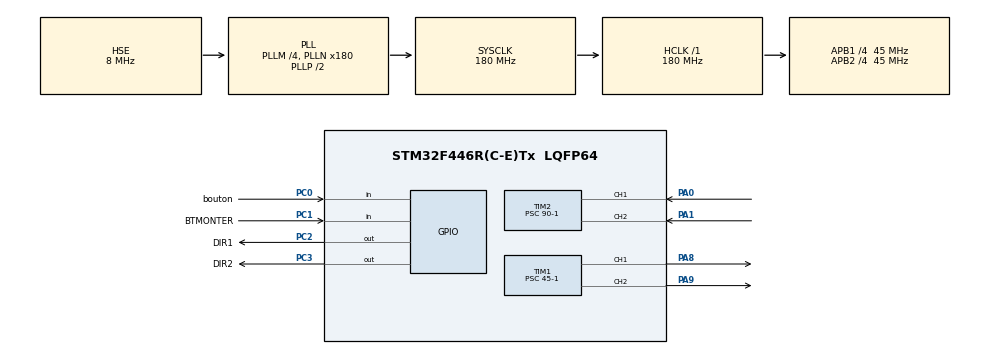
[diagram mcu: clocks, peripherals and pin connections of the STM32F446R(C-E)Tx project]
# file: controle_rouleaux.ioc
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Mcu.Family=STM32F4
Mcu.Name=STM32F446R(C-E)Tx
Mcu.Package=LQFP64
NVIC.PriorityGroup=NVIC_PRIORITYGROUP_4
NVIC.TIM2_IRQn=true\:0\:0\:false\:false\:true\:true\:true\:true
PA0-WKUP.Signal=S_TIM2_CH1_ETR
PA1.Signal=S_TIM2_CH2
PA8.Signal=S_TIM1_CH1
PA9.Signal=S_TIM1_CH2
PC0.GPIO_Label=bouton
PC0.GPIO_PuPd=GPIO_PULLDOWN
PC0.Signal=GPIO_Input
PC1.GPIO_Label=BTMONTER
PC1.GPIO_Mode=GPIO_MODE_INPUT
PC1.GPIO_PuPd=GPIO_PULLDOWN
PC1.Signal=GPIO_Input
PC2.GPIO_Label=DIR1
PC2.GPIO_PuPd=GPIO_PULLDOWN
PC2.PinState=GPIO_PIN_RESET
PC2.Signal=GPIO_Output
PC3.GPIO_Label=DIR2
PC3.GPIO_PuPd=GPIO_PULLDOWN
PC3.PinState=GPIO_PIN_RESET
PC3.Signal=GPIO_Output
PH0-OSC_IN.Mode=HSE-External-Oscillator
PH0-OSC_IN.Signal=RCC_OSC_IN
PH1-OSC_OUT.Mode=HSE-External-Oscillator
PH1-OSC_OUT.Signal=RCC_OSC_OUT
ProjectManager.HeapSize=0x200
ProjectManager.StackSize=0x400
ProjectManager.TargetToolchain=STM32CubeIDE
RCC.AHBFreq_Value=180000000
RCC.APB1CLKDivider=RCC_HCLK_DIV4
RCC.APB1Freq_Value=45000000
RCC.APB1TimFreq_Value=90000000
RCC.APB2CLKDivider=RCC_HCLK_DIV4
RCC.APB2Freq_Value=45000000
RCC.APB2TimFreq_Value=90000000
RCC.CortexFreq_Value=180000000
RCC.HCLKFreq_Value=180000000
RCC.HSE_VALUE=8000000
RCC.PLLM=4
RCC.PLLN=180
RCC.PLLSourceVirtual=RCC_PLLSOURCE_HSE
RCC.SYSCLKFreq_VALUE=180000000
RCC.SYSCLKSource=RCC_SYSCLKSOURCE_PLLCLK
RCC.USBFreq_Value=180000000
RCC.VCOOutputFreq_Value=360000000
SH.S_TIM1_CH1.0=TIM1_CH1,PWM Generation1 CH1
SH.S_TIM1_CH2.0=TIM1_CH2,PWM Generation2 CH2
SH.S_TIM2_CH1_ETR.0=TIM2_CH1,Input_Capture1_from_TI1
SH.S_TIM2_CH2.0=TIM2_CH2,Input_Capture2_from_TI2
TIM1.Channel-PWM\ Generation1\ CH1=TIM_CHANNEL_1
TIM1.Channel-PWM\ Generation2\ CH2=TIM_CHANNEL_2
TIM1.Period=100
TIM1.Prescaler=45-1
TIM2.Channel-Input_Capture1_from_TI1=TIM_CHANNEL_1
TIM2.Channel-Input_Capture2_from_TI2=TIM_CHANNEL_2
TIM2.ClockDivision=TIM_CLOCKDIVISION_DIV2
TIM2.ICFilter_CH1=15
TIM2.ICFilter_CH2=15
TIM2.Prescaler=90-1
VP_TIM1_VS_ClockSourceINT.Mode=Internal
board=custom

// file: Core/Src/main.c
/* USER CODE BEGIN Header */
/**
  ******************************************************************************
  * @file           : main.c
  * @brief          : Main program body
  ******************************************************************************
  * @attention
  *
  * Copyright (c) 2023 STMicroelectronics.
  * All rights reserved.
  *
  * This software is licensed under terms that can be found in the LICENSE file
  * in the root directory of this software component.
  * If no LICENSE file comes with this software, it is provided AS-IS.
  *
  ******************************************************************************
  */
/* USER CODE END Header */
#include "main.h"

/* USER CODE BEGIN Includes */
#define frequencyM1     1000/(periodMotor1)    // FREQUENCE DU L ENCODEUR 1
#define frequencyM2     1000/(periodMotor2)    // FREQUENCE DU L ENCODEUR 2
#define frequencyM3     1000/(periodMotor3)    // FREQUENCE DU L ENCODEUR 3
#define frequencyM4     1000/(periodMotor4)    // FREQUENCE DU L ENCODEUR 4
#define frequencyM5     1000/(periodMotor5)    // FREQUENCE DU L ENCODEUR 5
#define frequencyM6     1000/(periodMotor6)    // FREQUENCE DU L ENCODEUR 6
#define   Vmax           30
#define   Vmin           17
void pressbouton();
//definitions des vitesses exp speedMotor1-->vitesse du moteur 1
float speedMotor1=0;
float speedMotor2=0;
float speedMotor3=0;
float speedMotor4=0;
float speedMotor5=0;
float speedMotor6=0;
float vitesseRef1 =20  ;            // VITESSE DE REFERNCE POUR L ASSERVISSEMENT 90
float vitesseRef3 =25;
float vitesseRef2 =20;
//definitions des periodes entre deux fronts montant periodMotor1
uint16_t periodMotor1=0;
uint16_t periodMotor2=0;
uint16_t periodMotor3=0;
uint16_t periodMotor4=0;
uint16_t periodMotor5=0;
uint16_t periodMotor6=0;

/* USER CODE END 0 */
volatile float Is_First_Captured1=0;// VARIABLE POUR TESTER SILE FRONT MONTANT DU L ENCODEUR 1 EST DETECTE
volatile float Is_First_Captured2=0;// VARIABLE POUR TESTER SILE FRONT MONTANT DU L ENCODEUR 2 EST DETECTE
volatile float Is_First_Captured3=0;// VARIABLE POUR TESTER SILE FRONT MONTANT DU L ENCODEUR 3 EST DETECTE
volatile float Is_First_Captured4=0;// VARIABLE POUR TESTER SILE FRONT MONTANT DU L ENCODEUR 4 EST DETECTE
volatile float Is_First_Captured5=0;// VARIABLE POUR TESTER SILE FRONT MONTANT DU L ENCODEUR 5 EST DETECTE
volatile float Is_First_Captured6=0;// VARIABLE POUR TESTER SILE FRONT MONTANT DU L ENCODEUR 6 EST DETECTE

volatile int IC1_Val1=0;        //VARIABLE POUR STOCKER LA VALEUR DU  FRONT MONTANT DU L ENCODEUR 1
volatile int IC2_Val1=0;        //VARIABLE POUR STOCKER LA VALEUR DU  FRONT MONTANT DU L ENCODEUR 2
volatile int IC3_Val1=0;        //VARIABLE POUR STOCKER LA VALEUR DU  FRONT MONTANT DU L ENCODEUR 3
volatile int IC4_Val1=0;        //VARIABLE POUR STOCKER LA VALEUR DU  FRONT MONTANT DU L ENCODEUR 4
volatile int IC5_Val1=0;        //VARIABLE POUR STOCKER LA VALEUR DU  FRONT MONTANT DU L ENCODEUR 5
volatile int IC6_Val1=0;        //VARIABLE POUR STOCKER LA VALEUR DU  FRONT MONTANT DU L ENCODEUR 6

uint32_t readValue;
uint32_t temp;

int CountM1=0;      // NOMBRE D IMPULSION ENCODEUR 1
int CountM2=0;      // NOMBRE D IMPULSION ENCODEUR 2
int CountM3=0;      // NOMBRE D IMPULSION ENCODEUR 3
int CountM4=0;      // NOMBRE D IMPULSION ENCODEUR 4
int CountM5=0;      // NOMBRE D IMPULSION ENCODEUR 5
int CountM6=0;      // NOMBRE D IMPULSION ENCODEUR 6
char data,data1;
int flag=0;
char dta='k'; // A ENVOYER VER LE PC POUR CONNECTER A PRONTERFACE
const float PI=3.141593;
double pos1;
double pos2;
double pos3;
// Global variable to store the previous CountM1 value
float t1;
float t2;
float t3;
float resultats;
double poszero1;
double poszero2;
double poszero3;
char tab[16]={};
float c=3;
float current;
float sensitivity =0.066;
#define IMPULSION_TO_COURSE24  CountM1/12.5
#define IMPULSION_TO_COURSE12 CountM2/9.5

uint32_t moyenne = 0;
/* USER CODE END Includes */

TIM_HandleTypeDef htim1;
TIM_HandleTypeDef htim2;

void SystemClock_Config(void);
static void MX_GPIO_Init(void);
static void MX_TIM1_Init(void);
static void MX_TIM2_Init(void);
/* USER CODE BEGIN PFP */

void HAL_TIM_IC_CaptureCallback(TIM_HandleTypeDef *htim)
{
	  if(htim->Instance==TIM2)
	  {
		  if(htim->Channel == HAL_TIM_ACTIVE_CHANNEL_1)// MOTEUR 1

		  	{
			     CountM1++;

				if (Is_First_Captured1 == 0)
					{

					  IC1_Val1=HAL_GetTick();
					  Is_First_Captured1++;

					}
		  		else if (Is_First_Captured1 == 1)
					{
					  periodMotor1 = HAL_GetTick()-IC1_Val1;//periode1
					  if(periodMotor1!=0)
					  {
					    speedMotor1 = frequencyM1;

					  }
					  Is_First_Captured1 = 0;

					}

		  	}
		  if(htim->Channel == HAL_TIM_ACTIVE_CHANNEL_2)// MOTEUR 1
		  {

									CountM2+=1;

									  if (Is_First_Captured2 == 0)
										{
											IC2_Val1=HAL_GetTick();
											Is_First_Captured2++;
										}
										else if (Is_First_Captured2 == 1)
										{
											periodMotor2 = HAL_GetTick()-IC2_Val1;//periode1
											if(periodMotor2!=0)
											{
											speedMotor2 = frequencyM2;
											}

											Is_First_Captured2 = 0;

										}

									  }

	  }

}
void pressbouton(){

    if (HAL_GPIO_ReadPin(GPIOC, bouton_Pin) == GPIO_PIN_SET) {
		    if (CountM1<10) {

	    	TIM1->CCR1 =25; //MT1

    /* USER CODE BEGIN 3 */
               }else if (CountM1>=10) {
	             TIM1->CCR1 =0; //MT1

  }
		    if (CountM2<12) {

		    	TIM1->CCR2 =100; //MT1

	    /* USER CODE BEGIN 3 */
	               }else if (CountM2>=12) {
		             TIM1->CCR2 =0; //MT1

	  }

}
    if (HAL_GPIO_ReadPin(GPIOC, BTMONTER_Pin) == GPIO_PIN_SET) {
    	HAL_GPIO_WritePin(GPIOC, DIR1_Pin, GPIO_PIN_SET);
    	HAL_GPIO_WritePin(GPIOC, DIR2_Pin, GPIO_PIN_SET);

    		    if (CountM1<10) {

    	    	TIM1->CCR1 =25; //MT1

        /* USER CODE BEGIN 3 */
                   }else if (CountM1>=10) {
    	             TIM1->CCR1 =0; //MT1

      }
    		    if (CountM2<12) {

    		    	TIM1->CCR2 =100; //MT1

    	    /* USER CODE BEGIN 3 */
    	               }else if (CountM2>=12) {
    		             TIM1->CCR2 =0; //MT1

    	  }

    }

}
/* USER CODE END PFP */

int main(void)
{

  /* MCU Configuration--------------------------------------------------------*/

  /* Reset of all peripherals, Initializes the Flash interface and the Systick. */
  HAL_Init();

  /* Configure the system clock */
  SystemClock_Config();

  /* Initialize all configured peripherals */
  MX_GPIO_Init();
  MX_TIM1_Init();
  MX_TIM2_Init();
  /* USER CODE BEGIN 2 */

  HAL_TIM_PWM_Start(&htim1, TIM_CHANNEL_1);
  HAL_TIM_PWM_Start(&htim1, TIM_CHANNEL_2);
  HAL_TIM_IC_Start_IT(&htim2, TIM_CHANNEL_1);//PA0 START INTERRUPTION
  HAL_TIM_IC_Start_IT(&htim2, TIM_CHANNEL_2);//PA1 START INTERRUPTION
	TIM1->CCR1 =0; //MT1
  	TIM1->CCR2 =0;//MT2
  /* USER CODE END 2 */

  /* Infinite loop */
  while (1)
  {
pressbouton();
  }
}

void SystemClock_Config(void)
{
  RCC_OscInitTypeDef RCC_OscInitStruct = {0};
  RCC_ClkInitTypeDef RCC_ClkInitStruct = {0};

  /** Configure the main internal regulator output voltage
  */
  __HAL_RCC_PWR_CLK_ENABLE();
  __HAL_PWR_VOLTAGESCALING_CONFIG(PWR_REGULATOR_VOLTAGE_SCALE1);

  /** Initializes the RCC Oscillators according to the specified parameters
  * in the RCC_OscInitTypeDef structure.
  */
  RCC_OscInitStruct.OscillatorType = RCC_OSCILLATORTYPE_HSE;
  RCC_OscInitStruct.HSEState = RCC_HSE_ON;
  RCC_OscInitStruct.PLL.PLLState = RCC_PLL_ON;
  RCC_OscInitStruct.PLL.PLLSource = RCC_PLLSOURCE_HSE;
  RCC_OscInitStruct.PLL.PLLM = 4;
  RCC_OscInitStruct.PLL.PLLN = 180;
  RCC_OscInitStruct.PLL.PLLP = RCC_PLLP_DIV2;
  RCC_OscInitStruct.PLL.PLLQ = 2;
  RCC_OscInitStruct.PLL.PLLR = 2;
  if (HAL_RCC_OscConfig(&RCC_OscInitStruct) != HAL_OK)
  {
    Error_Handler();
  }

  /** Activate the Over-Drive mode
  */
  if (HAL_PWREx_EnableOverDrive() != HAL_OK)
  {
    Error_Handler();
  }

  /** Initializes the CPU, AHB and APB buses clocks
  */
  RCC_ClkInitStruct.ClockType = RCC_CLOCKTYPE_HCLK|RCC_CLOCKTYPE_SYSCLK
                              |RCC_CLOCKTYPE_PCLK1|RCC_CLOCKTYPE_PCLK2;
  RCC_ClkInitStruct.SYSCLKSource = RCC_SYSCLKSOURCE_PLLCLK;
  RCC_ClkInitStruct.AHBCLKDivider = RCC_SYSCLK_DIV1;
  RCC_ClkInitStruct.APB1CLKDivider = RCC_HCLK_DIV4;
  RCC_ClkInitStruct.APB2CLKDivider = RCC_HCLK_DIV4;

  if (HAL_RCC_ClockConfig(&RCC_ClkInitStruct, FLASH_LATENCY_5) != HAL_OK)
  {
    Error_Handler();
  }
}

static void MX_TIM1_Init(void)
{

  TIM_ClockConfigTypeDef sClockSourceConfig = {0};
  TIM_MasterConfigTypeDef sMasterConfig = {0};
  TIM_OC_InitTypeDef sConfigOC = {0};
  TIM_BreakDeadTimeConfigTypeDef sBreakDeadTimeConfig = {0};

  htim1.Instance = TIM1;
  htim1.Init.Prescaler = 45-1;
  htim1.Init.CounterMode = TIM_COUNTERMODE_UP;
  htim1.Init.Period = 100;
  htim1.Init.ClockDivision = TIM_CLOCKDIVISION_DIV1;
  htim1.Init.RepetitionCounter = 0;
  htim1.Init.AutoReloadPreload = TIM_AUTORELOAD_PRELOAD_DISABLE;
  if (HAL_TIM_Base_Init(&htim1) != HAL_OK)
  {
    Error_Handler();
  }
  sClockSourceConfig.ClockSource = TIM_CLOCKSOURCE_INTERNAL;
  if (HAL_TIM_ConfigClockSource(&htim1, &sClockSourceConfig) != HAL_OK)
  {
    Error_Handler();
  }
  if (HAL_TIM_PWM_Init(&htim1) != HAL_OK)
  {
    Error_Handler();
  }
  sMasterConfig.MasterOutputTrigger = TIM_TRGO_RESET;
  sMasterConfig.MasterSlaveMode = TIM_MASTERSLAVEMODE_DISABLE;
  if (HAL_TIMEx_MasterConfigSynchronization(&htim1, &sMasterConfig) != HAL_OK)
  {
    Error_Handler();
  }
  sConfigOC.OCMode = TIM_OCMODE_PWM1;
  sConfigOC.Pulse = 0;
  sConfigOC.OCPolarity = TIM_OCPOLARITY_HIGH;
  sConfigOC.OCNPolarity = TIM_OCNPOLARITY_HIGH;
  sConfigOC.OCFastMode = TIM_OCFAST_DISABLE;
  sConfigOC.OCIdleState = TIM_OCIDLESTATE_RESET;
  sConfigOC.OCNIdleState = TIM_OCNIDLESTATE_RESET;
  if (HAL_TIM_PWM_ConfigChannel(&htim1, &sConfigOC, TIM_CHANNEL_1) != HAL_OK)
  {
    Error_Handler();
  }
  if (HAL_TIM_PWM_ConfigChannel(&htim1, &sConfigOC, TIM_CHANNEL_2) != HAL_OK)
  {
    Error_Handler();
  }
  sBreakDeadTimeConfig.OffStateRunMode = TIM_OSSR_DISABLE;
  sBreakDeadTimeConfig.OffStateIDLEMode = TIM_OSSI_DISABLE;
  sBreakDeadTimeConfig.LockLevel = TIM_LOCKLEVEL_OFF;
  sBreakDeadTimeConfig.DeadTime = 0;
  sBreakDeadTimeConfig.BreakState = TIM_BREAK_DISABLE;
  sBreakDeadTimeConfig.BreakPolarity = TIM_BREAKPOLARITY_HIGH;
  sBreakDeadTimeConfig.AutomaticOutput = TIM_AUTOMATICOUTPUT_DISABLE;
  if (HAL_TIMEx_ConfigBreakDeadTime(&htim1, &sBreakDeadTimeConfig) != HAL_OK)
  {
    Error_Handler();
  }
  HAL_TIM_MspPostInit(&htim1);

}

static void MX_TIM2_Init(void)
{

  TIM_MasterConfigTypeDef sMasterConfig = {0};
  TIM_IC_InitTypeDef sConfigIC = {0};

  htim2.Instance = TIM2;
  htim2.Init.Prescaler = 90-1;
  htim2.Init.CounterMode = TIM_COUNTERMODE_UP;
  htim2.Init.Period = 4294967295;
  htim2.Init.ClockDivision = TIM_CLOCKDIVISION_DIV2;
  htim2.Init.AutoReloadPreload = TIM_AUTORELOAD_PRELOAD_DISABLE;
  if (HAL_TIM_IC_Init(&htim2) != HAL_OK)
  {
    Error_Handler();
  }
  sMasterConfig.MasterOutputTrigger = TIM_TRGO_RESET;
  sMasterConfig.MasterSlaveMode = TIM_MASTERSLAVEMODE_DISABLE;
  if (HAL_TIMEx_MasterConfigSynchronization(&htim2, &sMasterConfig) != HAL_OK)
  {
    Error_Handler();
  }
  sConfigIC.ICPolarity = TIM_INPUTCHANNELPOLARITY_RISING;
  sConfigIC.ICSelection = TIM_ICSELECTION_DIRECTTI;
  sConfigIC.ICPrescaler = TIM_ICPSC_DIV1;
  sConfigIC.ICFilter = 15;
  if (HAL_TIM_IC_ConfigChannel(&htim2, &sConfigIC, TIM_CHANNEL_1) != HAL_OK)
  {
    Error_Handler();
  }
  if (HAL_TIM_IC_ConfigChannel(&htim2, &sConfigIC, TIM_CHANNEL_2) != HAL_OK)
  {
    Error_Handler();
  }

}

static void MX_GPIO_Init(void)
{
  GPIO_InitTypeDef GPIO_InitStruct = {0};

  /* GPIO Ports Clock Enable */
  __HAL_RCC_GPIOH_CLK_ENABLE();
  __HAL_RCC_GPIOC_CLK_ENABLE();
  __HAL_RCC_GPIOA_CLK_ENABLE();

  /*Configure GPIO pin Output Level */
  HAL_GPIO_WritePin(GPIOC, DIR1_Pin|DIR2_Pin, GPIO_PIN_RESET);

  /*Configure GPIO pins : bouton_Pin BTMONTER_Pin */
  GPIO_InitStruct.Pin = bouton_Pin|BTMONTER_Pin;
  GPIO_InitStruct.Mode = GPIO_MODE_INPUT;
  GPIO_InitStruct.Pull = GPIO_PULLDOWN;
  HAL_GPIO_Init(GPIOC, &GPIO_InitStruct);

  /*Configure GPIO pins : DIR1_Pin DIR2_Pin */
  GPIO_InitStruct.Pin = DIR1_Pin|DIR2_Pin;
  GPIO_InitStruct.Mode = GPIO_MODE_OUTPUT_PP;
  GPIO_InitStruct.Pull = GPIO_PULLDOWN;
  GPIO_InitStruct.Speed = GPIO_SPEED_FREQ_LOW;
  HAL_GPIO_Init(GPIOC, &GPIO_InitStruct);

}

void Error_Handler(void)
{
  __disable_irq();
  while (1)
  {
  }
}
